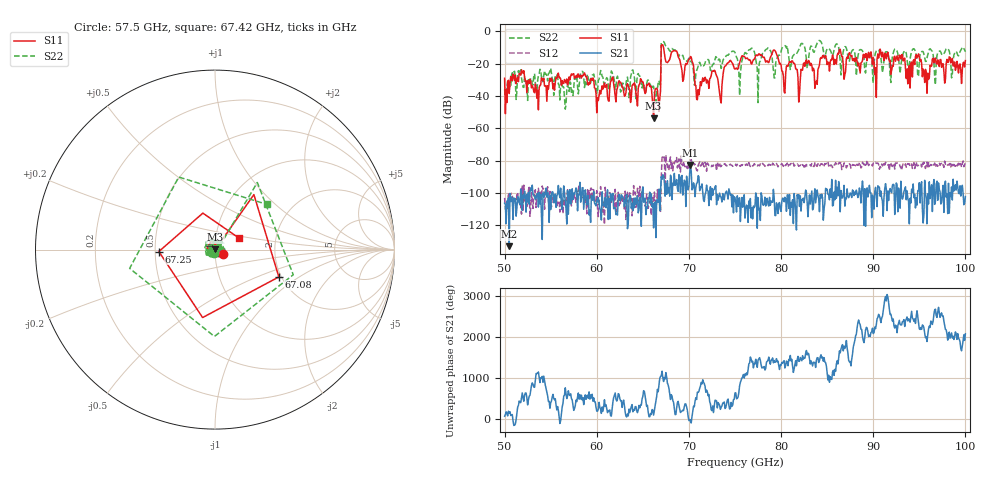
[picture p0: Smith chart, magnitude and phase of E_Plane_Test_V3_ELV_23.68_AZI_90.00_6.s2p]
! 11/26/2026 4:03:08 PM
! C:\ANRITSUVNA\TEMP\TEMP.S2P
! CHANNEL.1
! TR.MEASUREMENT
! RAW.DATA
# HZ S RI R 50.0
! FREQ.HZ  S11RE  S11IM  S21RE  S21IM  S12RE  S12IM  S22RE  S22IM
!; PortSelection: Port_12
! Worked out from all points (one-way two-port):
!   601 points, 50 GHz to 100 GHz, reference 50 ohm
!   highest |S21| = -82.63 dB at 70.17 GHz (marker M1); lowest = -133.0 dB at 50.5 GHz (marker M2)
!   lowest |S11| = -53.9 dB at 66.17 GHz (marker M3), VSWR 1.00, Z = 50.1 + j0.147 ohm
!   |S11| at or under -10 dB: start of sweep to 67 GHz; 67.25 GHz to end of sweep
!   |S22| runs from -48.1 to -5.6 dB; largest |S21 - S12| = 0.00017
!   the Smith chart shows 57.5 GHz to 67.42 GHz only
!   S11 on the Smith chart (normalised r, x): 57.5 GHz: 1.09, -0.05; 67.08 GHz: 1.94, -0.69; 67.25 GHz: 0.52, -0.01; 67.42 GHz: 1.29, +0.17
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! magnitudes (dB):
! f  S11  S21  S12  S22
! 50 GHz  -29.0  -106.4  -103.1  -35.9
! 50.5 GHz  -38.4  -133.0  -103.7  -36.8
! 57.5 GHz  -26.2  -100.1  -103.4  -34.7
! 58.42 GHz  -27.2  -96.8  -102.8  -24.7
! 60.17 GHz  -42.8  -102.9  -114.7  -30.4
! 66.17 GHz  -53.9  -121.7  -108.5  -34.0
! 66.67 GHz  -41.5  -105.7  -104.5  -31.7
! 67.08 GHz  -8.2  -91.6  -77.9  -6.8
! 67.25 GHz  -10.1  -89.2  -78.9  -6.3
! 67.42 GHz  -16.6  -102.0  -96.7  -8.3
! 70.17 GHz  -15.5  -82.6  -82.1  -18.6
! 70.92 GHz  -42.3  -93.7  -86.4  -23.0
! 75 GHz  -23.4  -102.9  -83.2  -13.0
! 78.58 GHz  -19.2  -107.1  -83.2  -10.1
! 79.25 GHz  -11.5  -103.0  -82.5  -28.8
! 80.25 GHz  -27.8  -103.4  -83.5  -9.3
! 83.42 GHz  -24.4  -110.5  -82.1  -10.8
! 91.67 GHz  -16.6  -104.7  -82.4  -15.1
! 93.75 GHz  -32.4  -103.2  -81.9  -21.3
! 94.83 GHz  -15.1  -98.7  -83.2  -27.9
! 95.83 GHz  -38.3  -119.1  -81.0  -16.5
! 100 GHz  -18.0  -102.3  -81.4  -12.5
